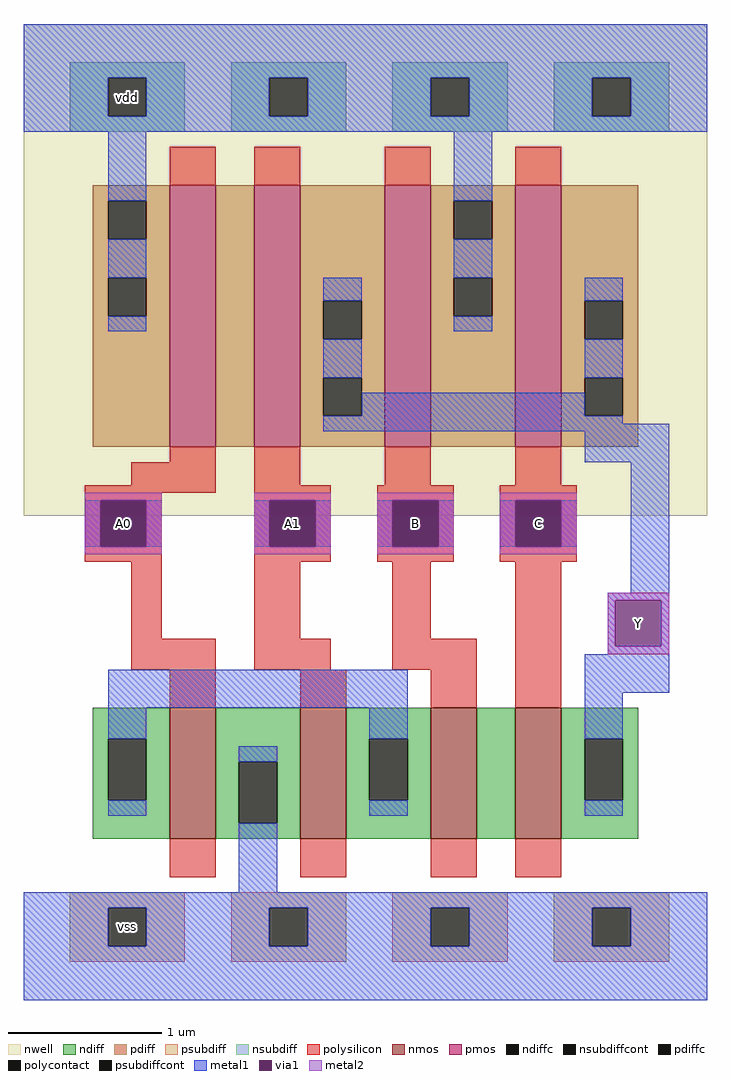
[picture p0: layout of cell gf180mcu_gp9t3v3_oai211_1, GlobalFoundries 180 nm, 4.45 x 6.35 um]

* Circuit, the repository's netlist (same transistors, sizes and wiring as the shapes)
* NGSPICE file created from gf180mcu_gp9t3v3_oai211_1.ext - technology: gf180mcuD

.subckt gf180mcu_gp9t3v3_oai211_1 A0 A1 B C Y vdd vss
X0 Y C vdd vdd pfet_03v3 ad=0.85p pd=4.4u as=0.4675p ps=2.25u w=1.7u l=0.3u
X1 a_n350_150# A0 vdd vdd pfet_03v3 ad=0.2125p pd=1.95u as=0.85p ps=4.4u w=1.7u l=0.3u
X2 a_n510_n360# A1 vss vss nfet_03v3 ad=0.23375p pd=1.4u as=0.23375p ps=1.4u w=0.85u l=0.3u
X3 Y C a_n10_n360# vss nfet_03v3 ad=0.425p pd=2.7u as=0.10625p ps=1.1u w=0.85u l=0.3u
X4 Y A1 a_n350_150# vdd pfet_03v3 ad=0.4675p pd=2.25u as=0.2125p ps=1.95u w=1.7u l=0.3u
X5 vdd B Y vdd pfet_03v3 ad=0.4675p pd=2.25u as=0.4675p ps=2.25u w=1.7u l=0.3u
X6 vss A0 a_n510_n360# vss nfet_03v3 ad=0.23375p pd=1.4u as=0.425p ps=2.7u w=0.85u l=0.3u
X7 a_n10_n360# B a_n510_n360# vss nfet_03v3 ad=0.10625p pd=1.1u as=0.23375p ps=1.4u w=0.85u l=0.3u
.ends

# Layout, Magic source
magic
tech gf180mcuD
<< nwell >>
rect -60 4 29 68
<< nmos >>
rect -41 -38 -35 -21
rect -24 -38 -18 -21
rect -7 -38 -1 -21
rect 4 -38 10 -21
<< pmos >>
rect -41 13 -35 47
rect -30 13 -24 47
rect -13 13 -7 47
rect 4 13 10 47
<< ndiff >>
rect -51 -25 -41 -21
rect -51 -33 -49 -25
rect -44 -33 -41 -25
rect -51 -38 -41 -33
rect -35 -28 -24 -21
rect -35 -36 -32 -28
rect -27 -36 -24 -28
rect -35 -38 -24 -36
rect -18 -25 -7 -21
rect -18 -33 -15 -25
rect -10 -33 -7 -25
rect -18 -38 -7 -33
rect -1 -38 4 -21
rect 10 -25 20 -21
rect 10 -33 13 -25
rect 18 -33 20 -25
rect 10 -38 20 -33
<< pdiff >>
rect -51 45 -41 47
rect -51 40 -49 45
rect -44 40 -41 45
rect -51 35 -41 40
rect -51 30 -49 35
rect -44 30 -41 35
rect -51 13 -41 30
rect -35 13 -30 47
rect -24 32 -13 47
rect -24 27 -21 32
rect -16 27 -13 32
rect -24 22 -13 27
rect -24 17 -21 22
rect -16 17 -13 22
rect -24 13 -13 17
rect -7 45 4 47
rect -7 40 -4 45
rect 1 40 4 45
rect -7 35 4 40
rect -7 30 -4 35
rect 1 30 4 35
rect -7 13 4 30
rect 10 32 20 47
rect 10 27 13 32
rect 18 27 20 32
rect 10 22 20 27
rect 10 17 13 22
rect 18 17 20 22
rect 10 13 20 17
<< ndiffc >>
rect -49 -33 -44 -25
rect -32 -36 -27 -28
rect -15 -33 -10 -25
rect 13 -33 18 -25
<< pdiffc >>
rect -49 40 -44 45
rect -49 30 -44 35
rect -21 27 -16 32
rect -21 17 -16 22
rect -4 40 1 45
rect -4 30 1 35
rect 13 27 18 32
rect 13 17 18 22
<< psubdiff >>
rect -54 -47 -39 -45
rect -54 -52 -49 -47
rect -44 -52 -39 -47
rect -54 -54 -39 -52
rect -33 -47 -18 -45
rect -33 -52 -28 -47
rect -23 -52 -18 -47
rect -33 -54 -18 -52
rect -12 -47 3 -45
rect -12 -52 -7 -47
rect -2 -52 3 -47
rect -12 -54 3 -52
rect 9 -47 24 -45
rect 9 -52 14 -47
rect 19 -52 24 -47
rect 9 -54 24 -52
<< nsubdiff >>
rect -54 61 -39 63
rect -54 56 -49 61
rect -44 56 -39 61
rect -54 54 -39 56
rect -33 61 -18 63
rect -33 56 -28 61
rect -23 56 -18 61
rect -33 54 -18 56
rect -12 61 3 63
rect -12 56 -7 61
rect -2 56 3 61
rect -12 54 3 56
rect 9 61 24 63
rect 9 56 14 61
rect 19 56 24 61
rect 9 54 24 56
<< psubdiffcont >>
rect -49 -52 -44 -47
rect -28 -52 -23 -47
rect -7 -52 -2 -47
rect 14 -52 19 -47
<< nsubdiffcont >>
rect -49 56 -44 61
rect -28 56 -23 61
rect -7 56 -2 61
rect 14 56 19 61
<< polysilicon >>
rect -41 47 -35 52
rect -30 47 -24 52
rect -13 47 -7 52
rect 4 47 10 52
rect -41 11 -35 13
rect -46 8 -35 11
rect -52 7 -35 8
rect -30 8 -24 13
rect -13 8 -7 13
rect 4 8 10 13
rect -52 6 -42 7
rect -52 0 -50 6
rect -44 0 -42 6
rect -52 -2 -42 0
rect -46 -12 -42 -2
rect -30 6 -20 8
rect -30 0 -28 6
rect -22 0 -20 6
rect -30 -2 -20 0
rect -14 6 -4 8
rect -14 0 -12 6
rect -6 0 -4 6
rect -14 -2 -4 0
rect 2 6 12 8
rect 2 0 4 6
rect 10 0 12 6
rect 2 -2 12 0
rect -30 -12 -24 -2
rect -12 -12 -7 -2
rect -46 -16 -35 -12
rect -30 -16 -20 -12
rect -12 -16 -1 -12
rect -41 -21 -35 -16
rect -24 -21 -18 -16
rect -7 -21 -1 -16
rect 4 -21 10 -2
rect -41 -43 -35 -38
rect -24 -43 -18 -38
rect -7 -43 -1 -38
rect 4 -43 10 -38
<< polycontact >>
rect -50 0 -44 6
rect -28 0 -22 6
rect -12 0 -6 6
rect 4 0 10 6
<< metal1 >>
rect -60 61 29 68
rect -60 56 -49 61
rect -44 56 -28 61
rect -23 56 -7 61
rect -2 56 14 61
rect 19 56 29 61
rect -60 54 29 56
rect -49 45 -44 54
rect -49 35 -44 40
rect -4 45 1 54
rect -4 35 1 40
rect -49 28 -44 30
rect -21 32 -16 35
rect -4 28 1 30
rect 13 32 18 35
rect -21 22 -16 27
rect 13 22 18 27
rect -16 17 13 20
rect -21 16 18 17
rect -21 15 24 16
rect 13 11 24 15
rect -52 0 -50 6
rect -44 0 -42 6
rect -30 0 -28 6
rect -22 0 -20 6
rect -14 0 -12 6
rect -6 0 -4 6
rect 2 0 4 6
rect 10 0 12 6
rect 19 -6 24 11
rect 16 -7 24 -6
rect 16 -13 17 -7
rect 23 -13 24 -7
rect 16 -14 24 -13
rect -49 -21 -10 -16
rect -49 -25 -44 -21
rect -15 -25 -10 -21
rect -49 -35 -44 -33
rect -32 -28 -27 -26
rect -15 -35 -10 -33
rect 13 -19 24 -14
rect 13 -25 18 -19
rect 13 -35 18 -33
rect -32 -45 -27 -36
rect -60 -47 29 -45
rect -60 -52 -49 -47
rect -44 -52 -28 -47
rect -23 -52 -7 -47
rect -2 -52 14 -47
rect 19 -52 29 -47
rect -60 -59 29 -52
<< via1 >>
rect -50 0 -44 6
rect -28 0 -22 6
rect -12 0 -6 6
rect 4 0 10 6
rect 17 -13 23 -7
<< metal2 >>
rect -52 6 -42 7
rect -52 0 -50 6
rect -44 0 -42 6
rect -52 -1 -42 0
rect -30 6 -20 7
rect -30 0 -28 6
rect -22 0 -20 6
rect -30 -1 -20 0
rect -14 6 -4 7
rect -14 0 -12 6
rect -6 0 -4 6
rect -14 -1 -4 0
rect 2 6 12 7
rect 2 0 4 6
rect 10 0 12 6
rect 2 -1 12 0
rect 16 -7 24 -6
rect 16 -13 17 -7
rect 23 -13 24 -7
rect 16 -14 24 -13
<< labels >>
rlabel nsubdiffcont -49 56 -44 61 0 vdd
port 6 n power bidirectional abutment
rlabel psubdiffcont -49 -52 -44 -47 0 vss
port 7 s ground bidirectional abutment
rlabel metal2 -50 0 -44 6 0 A0
port 1 w signal input
rlabel metal2 17 -13 23 -7 0 Y
port 5 e signal output
rlabel metal2 4 0 10 6 0 C
port 4 w signal input
rlabel metal2 -12 0 -6 6 0 B
port 3 w signal input
rlabel metal2 -28 0 -22 6 0 A1
port 2 w signal input
<< end >>
